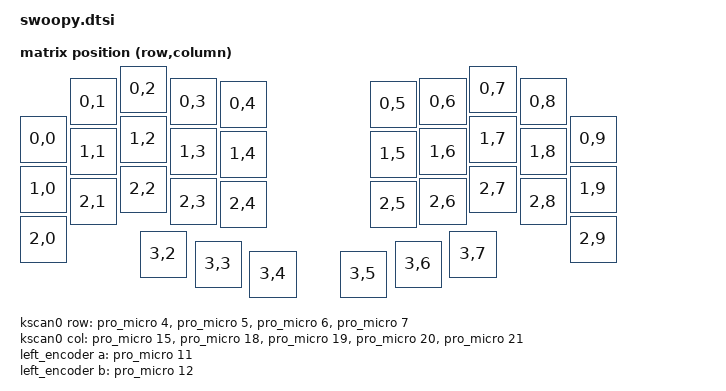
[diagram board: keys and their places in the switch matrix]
#include <dt-bindings/zmk/matrix_transform.h>
#include <physical_layouts.dtsi>

/ {
    chosen {
        zmk,kscan = &kscan0;
        zmk,physical-layout = &swoopy_layout;
    };

    default_transform: keymap_transform_0 {
        compatible = "zmk,matrix-transform";
        columns = <10>;
        rows = <4>;

        map = <
            RC(0,0) RC(0,1) RC(0,2) RC(0,3) RC(0,4)    RC(0,5) RC(0,6) RC(0,7) RC(0,8) RC(0,9)
            RC(1,0) RC(1,1) RC(1,2) RC(1,3) RC(1,4)    RC(1,5) RC(1,6) RC(1,7) RC(1,8) RC(1,9)
            RC(2,0) RC(2,1) RC(2,2) RC(2,3) RC(2,4)    RC(2,5) RC(2,6) RC(2,7) RC(2,8) RC(2,9)
                            RC(3,2) RC(3,3) RC(3,4)    RC(3,5) RC(3,6) RC(3,7)
        >;
    };

    swoopy_layout: physical_layout_0 {
        compatible = "zmk,physical-layout";
        display-name = "Swoopy Layout";
        transform = <&default_transform>;
        kscan = <&kscan0>;
        keys
            = <&key_physical_attrs 100 100  0   100   0 0 0>
            , <&key_physical_attrs 100 100  100 25   0 0 0>
            , <&key_physical_attrs 100 100  200 0   0 0 0>
            , <&key_physical_attrs 100 100  300 25   0 0 0>
            , <&key_physical_attrs 100 100  400 30   0 0 0>
            , <&key_physical_attrs 100 100  700 30   0 0 0>
            , <&key_physical_attrs 100 100  800 25   0 0 0>
            , <&key_physical_attrs 100 100  900 0   0 0 0>
            , <&key_physical_attrs 100 100  1000 25   0 0 0>
            , <&key_physical_attrs 100 100  1100 100   0 0 0>
            , <&key_physical_attrs 100 100  0   200 0 0 0>
            , <&key_physical_attrs 100 100  100 125 0 0 0>
            , <&key_physical_attrs 100 100  200 100 0 0 0>
            , <&key_physical_attrs 100 100  300 125 0 0 0>
            , <&key_physical_attrs 100 100  400 130 0 0 0>
            , <&key_physical_attrs 100 100  700 130 0 0 0>
            , <&key_physical_attrs 100 100  800 125 0 0 0>
            , <&key_physical_attrs 100 100  900 100 0 0 0>
            , <&key_physical_attrs 100 100  1000 125 0 0 0>
            , <&key_physical_attrs 100 100  1100 200 0 0 0>
            , <&key_physical_attrs 100 100  0   300 0 0 0>
            , <&key_physical_attrs 100 100  100 225 0 0 0>
            , <&key_physical_attrs 100 100  200 200 0 0 0>
            , <&key_physical_attrs 100 100  300 225 0 0 0>
            , <&key_physical_attrs 100 100  400 230 0 0 0>
            , <&key_physical_attrs 100 100  700 230 0 0 0>
            , <&key_physical_attrs 100 100  800 225 0 0 0>
            , <&key_physical_attrs 100 100  900 200 0 0 0>
            , <&key_physical_attrs 100 100  1000 225 0 0 0>
            , <&key_physical_attrs 100 100  1100 300 0 0 0>
            , <&key_physical_attrs 100 100  240 330 0 0 0>
            , <&key_physical_attrs 100 100  350 350 0 0 0>
            , <&key_physical_attrs 100 100  460 370 0 0 0>
            , <&key_physical_attrs 100 100  640 370 0 0 0>
            , <&key_physical_attrs 100 100  750 350 0 0 0>
            , <&key_physical_attrs 100 100  860 330 0 0 0>
            ;
    };

    kscan0: kscan {
        compatible = "zmk,kscan-gpio-matrix";
        diode-direction = "col2row";

        col-gpios
            = <&pro_micro 15 GPIO_ACTIVE_HIGH>
            , <&pro_micro 18 GPIO_ACTIVE_HIGH>
            , <&pro_micro 19 GPIO_ACTIVE_HIGH>
            , <&pro_micro 20 GPIO_ACTIVE_HIGH>
            , <&pro_micro 21 GPIO_ACTIVE_HIGH>
            ;

        row-gpios
            = <&pro_micro 4 (GPIO_ACTIVE_HIGH | GPIO_PULL_DOWN)>
            , <&pro_micro 5 (GPIO_ACTIVE_HIGH | GPIO_PULL_DOWN)>
            , <&pro_micro 6 (GPIO_ACTIVE_HIGH | GPIO_PULL_DOWN)>
            , <&pro_micro 7 (GPIO_ACTIVE_HIGH | GPIO_PULL_DOWN)>
            ;
    };

    left_encoder: encoder_left {
        compatible = "alps,ec11";
        a-gpios = <&pro_micro 11 (GPIO_ACTIVE_HIGH | GPIO_PULL_UP)>;
        b-gpios = <&pro_micro 12 (GPIO_ACTIVE_HIGH | GPIO_PULL_UP)>;
        steps = <80>;
        status = "disabled";
    };

        sensors: sensors {
        compatible = "zmk,keymap-sensors";
        sensors = <&left_encoder>;
        triggers-per-rotation = <20>;
    };


};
